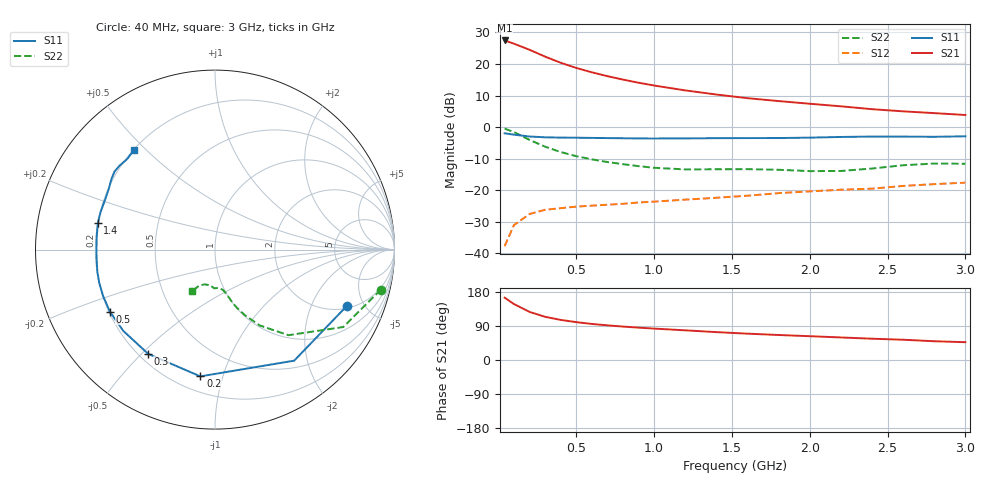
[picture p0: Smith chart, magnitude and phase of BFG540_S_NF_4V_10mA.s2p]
! Filename:  BFG540B.S2P  Version:  3.0
! Philips part #: BFG540  Date: Feb 1992
! Bias condition: Vce=4V, Ic=10mA
! IN LINE PINNING: same data as with cross emitter pinning.
#  MHz  S  MA  R  50
! Freq  S11  S21  S12  S22  !GUM [dB]
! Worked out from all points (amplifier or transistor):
!   21 points, 40 MHz to 3 GHz, reference 50 ohm
!   highest |S21| = 27.5 dB at 40 MHz (marker M1)
!   |S21| within 3 dB of that: start of sweep to 202.3 MHz
!   unconditionally stable (mu >= 1): 1.191 GHz to end of sweep
!   at 300 MHz: K = 0.32, MSG = 24.3 dB, |S12| = -26.2 dB
!   at 1 GHz: K = 0.90, MSG = 18.4 dB, |S12| = -23.6 dB
!   at 3 GHz: K = 1.23, MAG = 7.8 dB, |S12| = -17.6 dB
!   lowest NFmin = 1.30 dB at 900 MHz
!   S11 on the Smith chart (normalised r, x): 40 MHz: 2.15, -3.72; 200 MHz: 0.30, -0.85; 300 MHz: 0.24, -0.52; 500 MHz: 0.20, -0.26; 1.4 GHz: 0.20, +0.11; 3 GHz: 0.20, +0.46
40  0.799 -23.1  23.64 164.6  0.013 77.3  0.95 -13.6
100  0.76 -54.5  21.01 147.6  0.028 61.7  0.835 -31.1
200  0.711 -96.6  16.83 126.9  0.042 47.0  0.628 -49.4
300  0.69 -122.6  13.11 114.0  0.049 39.9  0.49 -59.5
400  0.683 -138.5  10.48 105.8  0.052 37.6  0.403 -65.4
500  0.68 -149.5  8.682 99.9  0.055 36.6  0.347 -69.3
600  0.675 -157.5  7.399 95.2  0.057 37.0  0.309 -71.9
700  0.671 -163.9  6.429 91.5  0.059 38.0  0.28 -73.7
800  0.667 -169.4  5.671 88.2  0.061 39.1  0.259 -75.3
900  0.662 -174.3  5.06 85.4  0.064 40.7  0.241 -77.2
1000  0.661 -178.9  4.569 82.9  0.066 42.4  0.227 -79.4
1200  0.663 173.4  3.823 78.3  0.071 45.6  0.214 -84.7
1400  0.669 167.3  3.288 73.6  0.076 47.6  0.215 -89.1
1600  0.671 161.9  2.878 69.5  0.082 51.0  0.216 -91.2
1800  0.672 156.1  2.589 66.0  0.09 52.6  0.211 -92.9
2000  0.682 150.2  2.349 62.8  0.096 54.9  0.201 -97.9
2200  0.699 145.5  2.138 59.5  0.102 56.4  0.202 -106.6
2400  0.709 142.1  1.926 56.2  0.106 58.3  0.221 -114.1
2600  0.708 138.6  1.78 53.5  0.117 59.0  0.249 -117.2
2800  0.703 134.1  1.667 49.5  0.125 58.1  0.265 -117.5
3000  0.716 128.9  1.558 47.0  0.132 59.9  0.263 -119.1
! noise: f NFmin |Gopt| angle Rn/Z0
900  1.3  0.298  143  0.1
2000  2.1  0.537  -162  0.09
